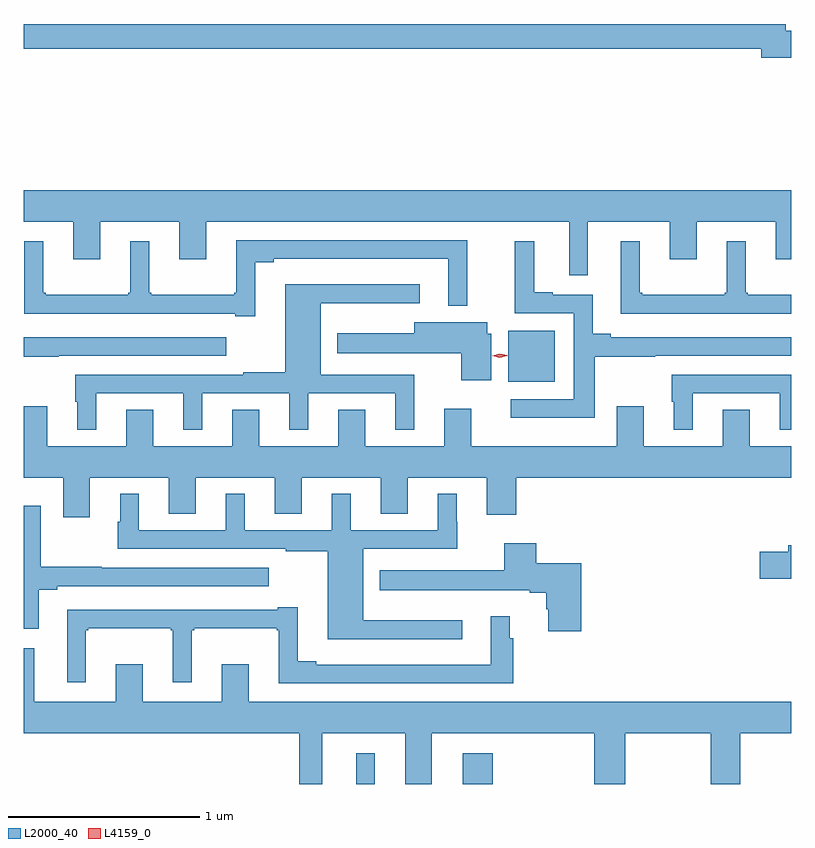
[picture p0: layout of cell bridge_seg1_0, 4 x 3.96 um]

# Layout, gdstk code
import gdstk
lib = gdstk.Library(unit=1e-6, precision=1e-09)
def R(c, l, rs):  # rectangles x0, y0, x1, y1
    for r in rs: c.add(gdstk.rectangle(r[:2], r[2:], *l))
def P(c, l, *ps):  # polygons
    for p in ps: c.add(gdstk.Polygon(p, *l))
L2000_40 = (2000, 40)
L4159_0 = (4159, 0)

bridge_seg1_0 = lib.new_cell('bridge_seg1_0')
R(bridge_seg1_0, L2000_40, [(886.73,532.819,886.828,532.978), (887.285,532.819,887.441,532.978), (887.522,534.914,887.764,535.18)])
P(bridge_seg1_0, L2000_40, [(888.998,536.745),(888.97,536.745),(888.97,536.779),(884.998,536.779),(884.998,536.65),(888.842,536.65),(888.842,536.603),(888.998,536.603)],
  [(884.998,535.748),(885.257,535.748),(885.257,535.554),(885.397,535.554),(885.397,535.748),(885.809,535.748),(885.809,535.554),(885.949,535.554),(885.949,535.748),(887.84,535.748),(887.84,535.47),(887.938,535.47),(887.938,535.748),(888.365,535.748),(888.365,535.554),(888.505,535.554),(888.505,535.748),(888.917,535.748),(888.917,535.554),(888.998,535.554),(888.998,535.912),(884.998,535.912)],
  [(886.204,535.537),(886.3,535.537),(886.3,535.556),(887.21,535.556),(887.21,535.31),(887.31,535.31),(887.31,535.653),(886.106,535.653),(886.106,535.378),(886.095,535.378),(886.095,535.367),(885.664,535.367),(885.664,535.378),(885.652,535.378),(885.652,535.648),(885.554,535.648),(885.554,535.378),(885.543,535.378),(885.543,535.367),(885.112,535.367),(885.112,535.378),(885.1,535.378),(885.1,535.648),(885.002,535.648),(885.002,535.269),(886.1,535.269),(886.1,535.257),(886.204,535.257)],
  [(887.974,535.045),(888.29,535.045),(888.29,535.05),(888.998,535.05),(888.998,535.146),(888.058,535.146),(888.058,535.166),(887.962,535.166),(887.962,535.368),(887.755,535.368),(887.755,535.381),(887.659,535.381),(887.659,535.648),(887.558,535.648),(887.558,535.272),(887.865,535.272),(887.865,534.825),(887.535,534.825),(887.535,534.728),(887.974,534.728)],
  [(888.998,535.367),(888.772,535.367),(888.772,535.378),(888.76,535.378),(888.76,535.648),(888.662,535.648),(888.662,535.378),(888.651,535.378),(888.651,535.367),(888.22,535.367),(888.22,535.378),(888.208,535.378),(888.208,535.648),(888.11,535.648),(888.11,535.269),(888.998,535.269)],
  [(885.376,534.855),(885.83,534.855),(885.83,534.665),(885.928,534.665),(885.928,534.855),(886.382,534.855),(886.382,534.665),(886.48,534.665),(886.48,534.855),(886.934,534.855),(886.934,534.665),(887.032,534.665),(887.032,534.812),(887.034,534.812),(887.034,534.951),(886.546,534.951),(886.546,535.325),(887.062,535.325),(887.062,535.423),(886.361,535.423),(886.361,534.964),(886.141,534.964),(886.141,534.951),(885.267,534.951),(885.267,534.812),(885.278,534.812),(885.278,534.665),(885.376,534.665)],
  [(887.434,535.164),(887.413,535.164),(887.413,535.225),(887.033,535.225),(887.033,535.168),(886.631,535.168),(886.631,535.064),(887.279,535.064),(887.279,534.924),(887.434,534.924)],
  [(885.182,535.05),(886.054,535.05),(886.054,535.146),(884.998,535.146),(884.998,535.045),(885.182,535.045)],
  [(888.484,534.855),(888.938,534.855),(888.938,534.665),(888.998,534.665),(888.998,534.951),(888.375,534.951),(888.375,534.812),(888.386,534.812),(888.386,534.665),(888.484,534.665)],
  [(886.859,534.226),(886.999,534.226),(886.999,534.416),(887.411,534.416),(887.411,534.222),(887.564,534.222),(887.564,534.416),(888.998,534.416),(888.998,534.58),(888.781,534.58),(888.781,534.77),(888.641,534.77),(888.641,534.58),(888.229,534.58),(888.229,534.787),(888.089,534.787),(888.089,534.58),(887.329,534.58),(887.329,534.775),(887.189,534.775),(887.189,534.58),(886.777,534.58),(886.777,534.77),(886.637,534.77),(886.637,534.58),(886.225,534.58),(886.225,534.77),(886.085,534.77),(886.085,534.58),(885.673,534.58),(885.673,534.77),(885.533,534.77),(885.533,534.58),(885.121,534.58),(885.121,534.787),(884.998,534.787),(884.998,534.416),(885.203,534.416),(885.203,534.21),(885.343,534.21),(885.343,534.416),(885.755,534.416),(885.755,534.226),(885.895,534.226),(885.895,534.416),(886.307,534.416),(886.307,534.226),(886.447,534.226),(886.447,534.416),(886.859,534.416)],
  [(887.284,533.671),(886.768,533.671),(886.768,534.045),(887.256,534.045),(887.256,534.185),(887.254,534.185),(887.254,534.331),(887.156,534.331),(887.156,534.141),(886.702,534.141),(886.702,534.331),(886.604,534.331),(886.604,534.141),(886.15,534.141),(886.15,534.331),(886.052,534.331),(886.052,534.141),(885.598,534.141),(885.598,534.331),(885.5,534.331),(885.5,534.185),(885.489,534.185),(885.489,534.045),(886.363,534.045),(886.363,534.033),(886.583,534.033),(886.583,533.573),(887.284,533.573)],
  [(885.076,533.83),(885.172,533.83),(885.172,533.85),(886.276,533.85),(886.276,533.946),(885.404,533.946),(885.404,533.951),(885.088,533.951),(885.088,534.268),(884.998,534.268),(884.998,533.628),(885.076,533.628)],
  [(887.903,533.968),(887.669,533.968),(887.669,534.073),(887.501,534.073),(887.501,533.932),(886.853,533.932),(886.853,533.828),(887.636,533.828),(887.636,533.816),(887.72,533.816),(887.72,533.73),(887.732,533.73),(887.732,533.616),(887.903,533.616)],
  [(888.998,534.064),(888.983,534.064),(888.983,534.03),(888.834,534.03),(888.834,533.888),(888.998,533.888)],
  [(887.549,533.579),(887.531,533.579),(887.531,533.692),(887.432,533.692),(887.432,533.44),(886.522,533.44),(886.522,533.459),(886.426,533.459),(886.426,533.74),(886.322,533.74),(886.322,533.727),(885.224,533.727),(885.224,533.349),(885.322,533.349),(885.322,533.619),(885.334,533.619),(885.334,533.63),(885.765,533.63),(885.765,533.619),(885.776,533.619),(885.776,533.349),(885.874,533.349),(885.874,533.619),(885.886,533.619),(885.886,533.63),(886.317,533.63),(886.317,533.619),(886.328,533.619),(886.328,533.343),(887.549,533.343)],
  [(886.171,533.443),(886.031,533.443),(886.031,533.248),(885.619,533.248),(885.619,533.443),(885.479,533.443),(885.479,533.248),(885.052,533.248),(885.052,533.527),(884.998,533.527),(884.998,533.084),(886.434,533.084),(886.434,532.819),(886.555,532.819),(886.555,533.084),(886.985,533.084),(886.985,532.819),(887.125,532.819),(887.125,533.084),(887.972,533.084),(887.972,532.819),(888.132,532.819),(888.132,533.084),(888.577,533.084),(888.577,532.819),(888.732,532.819),(888.732,533.084),(888.998,533.084),(888.998,533.248),(886.171,533.248)])
P(bridge_seg1_0, L4159_0, [(887.478,535.041),(887.439,535.051),(887.438,535.051),(887.439,535.051),(887.478,535.061),(887.517,535.052),(887.517,535.051),(887.517,535.051)])

lib.write_gds('bridge_seg1_0.gds')
